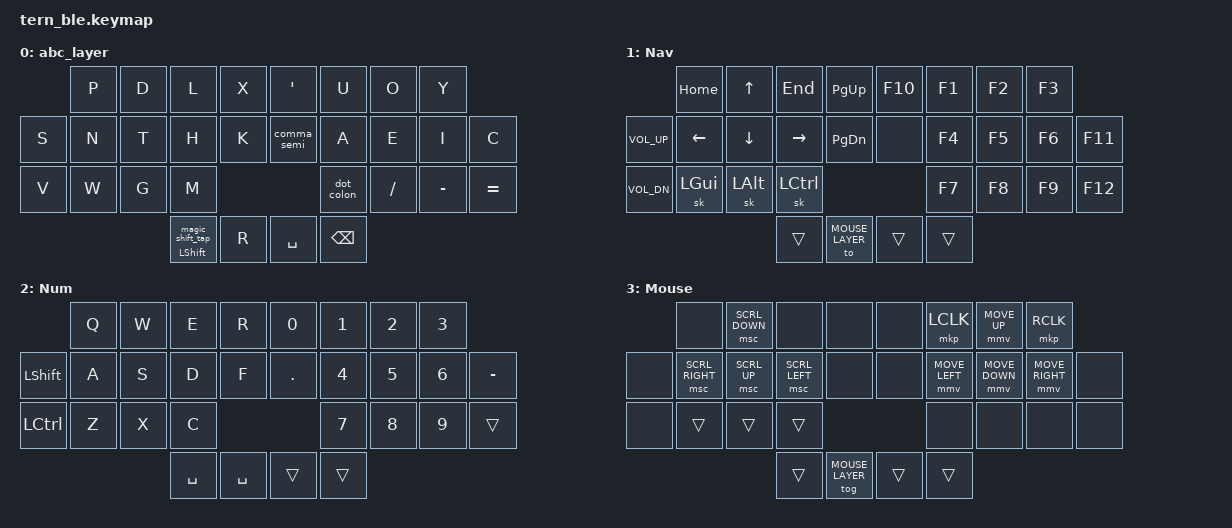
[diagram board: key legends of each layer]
/*
 * Copyright (c) 2022 The ZMK Contributors
 *
 * SPDX-License-Identifier: MIT
 */

#include <behaviors.dtsi>
#include <dt-bindings/zmk/keys.h>
#include <dt-bindings/zmk/bt.h>

#define ZMK_POINTING_DEFAULT_MOVE_VAL 1500  // default: 600
#define ZMK_POINTING_DEFAULT_SCRL_VAL 20    // default: 10

#include <dt-bindings/zmk/pointing.h>

#define ABC_LAYER 0
#define NAV_LAYER 1
#define NUM_LAYER 2
#define MOUSE_LAYER 3

/*       30 KEY MATRIX / LAYOUT MAPPING

      +----------------+----------------+
  +---+  0   1   2   3 |  4   5   6   7 +---+
  |  8   9  10  11  12 | 13  14  15  16  17 |
  | 18  19  20  21 ----+---- 22  23  24  25 |
  +-----------+ 26  27 | 28  29 +-----------+
              +--------+--------+             */

#define KEYS_L   0  1  2  3  8  9 10 11 12 18 19 20 21  // Left-hand keys.
#define KEYS_R   4  5  6  7 13 14 15 16 17 22 23 24 25  // Right-hand keys.
#define THUMBS  26 27 28 29                             // Thumb keys.
#define MAGIC_SHIFT &magic_shift LSHFT 0

// Continuation list for caps word
&caps_word { continue-list = <UNDERSCORE MINUS>; };

&sk {
    quick-release;
};

/ {
    behaviors {
        magic_shift: magic_shift {
            compatible = "zmk,behavior-hold-tap";
            #binding-cells = <2>;
            flavor = "balanced";
            tapping-term-ms = <200>;
            quick-tap-ms = <175>;
            bindings = <&kp>, <&magic_shift_tap>;
        };
        magic_shift_tap: magic_shift_tap {
            compatible = "zmk,behavior-mod-morph";
            #binding-cells = <0>;
            bindings = <&sk LSHFT>, <&caps_word>;
            mods = <(MOD_LSFT|MOD_RSFT)>;
        };
        dot_colon: dot_colon {
            compatible = "zmk,behavior-mod-morph";
            #binding-cells = <0>;
            bindings = <&kp DOT>, <&kp COLON>;
            mods = <(MOD_LSFT|MOD_RSFT)>;
        };
        comma_semi: comma_semi {
            compatible = "zmk,behavior-mod-morph";
            #binding-cells = <0>;
            bindings = <&kp COMMA>, <&kp SEMI>;
            mods = <(MOD_LSFT|MOD_RSFT)>;
        };
        lpar_lt: lpar_lt {
            compatible = "zmk,behavior-mod-morph";
            #binding-cells = <0>;
            bindings = <&kp LPAR>, <&kp LT>;
            mods = <(MOD_LSFT|MOD_RSFT)>;
        };
        rpar_gt: rpar_gt {
            compatible = "zmk,behavior-mod-morph";
            #binding-cells = <0>;
            bindings = <&kp RPAR>, <&kp GT>;
            mods = <(MOD_LSFT|MOD_RSFT)>;
        };
    };

    combos {
        compatible = "zmk,combos";

// -------------------------------------------------
//  ABC_LAYER + NAV_LAYER + NUM_LAYER + MOUSE_LAYER
// -------------------------------------------------

        combo_boot {                    //      +----------------+----------------+
            timeout-ms = <50>;          //  +---+  0   1   2   * |  *   5   6   7 +---+
            key-positions = <3 4>;      //  |  8   9  10  11  12 | 13  14  15  16  17 |
            bindings = <&bootloader>;   //  | 18  19  20  21 ----+---- 22  23  24  25 |
        };                              //  +-----------+ 26  27 | 28  29 +-----------+

        combo_reset {                   //      +----------------+----------------+
            timeout-ms = <50>;          //  +---+  0   1   2   3 |  4   5   6   7 +---+
            key-positions = <12 13>;    //  |  8   9  10  11   * |  *  14  15  16  17 |
            bindings = <&sys_reset>;    //  | 18  19  20  21 ----+---- 22  23  24  25 |
        };                              //  +-----------+ 26  27 | 28  29 +-----------+

        combo_del {                     //      +----------------+----------------+
            timeout-ms = <50>;          //  +---+  0   1   2   3 |  4   5   6   7 +---+
            key-positions = <27 28>;    //  |  8   9  10  11  12 | 13  14  15  16  17 |
            bindings = <&kp DEL>;       //  | 18  19  20  21 ----+---- 22  23  24  25 |
        };                              //  +-----------+ 26   * |  *  29 +-----------+

        combo_esc {                     //      +----------------+----------------+
            timeout-ms = <50>;          //  +---+  0   1   2   3 |  4   5   6   7 +---+
            key-positions = <26 27>;    //  |  8   9  10  11  12 | 13  14  15  16  17 |
            bindings = <&kp ESC>;       //  | 18  19  20  21 ----+---- 22  23  24  25 |
        };                              //  +-----------+  *   * | 28  29 +-----------+

        combo_return {                  //      +----------------+----------------+
            timeout-ms = <50>;          //  +---+  0   1   2   3 |  4   5   6   7 +---+
            key-positions = <28 29>;    //  |  8   9  10  11  12 | 13  14  15  16  17 |
            bindings = <&kp RET>;       //  | 18  19  20  21 ----+---- 22  23  24  25 |
        };                              //  +-----------+ 26  27 |  *   * +-----------+

        combo_tab {                     //      +----------------+----------------+
            timeout-ms = <50>;          //  +---+  0   1   2   3 |  4   5   6   7 +---+
            key-positions = <8 9>;      //  |  *   *  10  11  12 | 13  14  15  16  17 |
            bindings = <&kp TAB>;       //  | 18  19  20  21 ----+---- 22  23  24  25 |
        };                              //  +-----------+ 26  27 | 28  29 +-----------+

        combo_copy {                    //      +----------------+----------------+
            timeout-ms = <50>;          //  +---+  0   1   2   3 |  4   5   6   7 +---+
            key-positions = <19 20>;    //  |  8   9  10  11  12 | 13  14  15  16  17 |
            bindings = <&kp LC(C)>;     //  | 18   *   *  21 ----+---- 22  23  24  25 |
        };                              //  +-----------+ 26  27 | 28  29 +-----------+

        combo_cut {                     //      +----------------+----------------+
            timeout-ms = <50>;          //  +---+  0   1   2   3 |  4   5   6   7 +---+
            key-positions = <19 21>;    //  |  8   9  10  11  12 | 13  14  15  16  17 |
            bindings = <&kp LC(X)>;     //  | 18   *  20   * ----+---- 22  23  24  25 |
        };                              //  +-----------+ 26  27 | 28  29 +-----------+

        combo_paste {                   //      +----------------+----------------+
            timeout-ms = <50>;          //  +---+  0   1   2   3 |  4   5   6   7 +---+
            key-positions = <20 21>;    //  |  8   9  10  11  12 | 13  14  15  16  17 |
            bindings = <&kp LC(V)>;     //  | 18  19   *   * ----+---- 22  23  24  25 |
        };                              //  +-----------+ 26  27 | 28  29 +-----------+

// -------------------------------------------------
//                    BLUETOOTH
// -------------------------------------------------

        combo_bt_sel0 {                 //      +----------------+----------------+
            timeout-ms = <50>;          //  +---+  0   1   *   3 |  4   *   6   7 +---+
            key-positions = <2 5>;      //  |  8   9  10  11  12 | 13  14  15  16  17 |
            bindings = <&bt BT_SEL 0>;  //  | 18  19  20  21 ----+---- 22  23  24  25 |
        };                              //  +-----------+ 26  27 | 28  29 +-----------+

        combo_bt_sel1 {                 //      +----------------+----------------+
            timeout-ms = <50>;          //  +---+  0   *   2   3 |  4   5   *   7 +---+
            key-positions = <1 6>;      //  |  8   9  10  11  12 | 13  14  15  16  17 |
            bindings = <&bt BT_SEL 1>;  //  | 18  19  20  21 ----+---- 22  23  24  25 |
        };                              //  +-----------+ 26  27 | 28  29 +-----------+

        combo_bt_sel2 {                 //      +----------------+----------------+
            timeout-ms = <50>;          //  +---+  *   1   2   3 |  4   5   6   * +---+
            key-positions = <0 7>;      //  |  8   9  10  11  12 | 13  14  15  16  17 |
            bindings = <&bt BT_SEL 2>;  //  | 18  19  20  21 ----+---- 22  23  24  25 |
        };                              //  +-----------+ 26  27 | 28  29 +-----------+

        combo_bt_clr {                  //      +----------------+----------------+
            timeout-ms = <50>;          //  +---+  0   1   2   * |  *   5   6   7 +---+
            key-positions = <3 4 12 13>;//  |  8   9  10  11   * |  *  14  15  16  17 |
            bindings = <&bt BT_CLR>;    //  | 18  19  20  21 ----+---- 22  23  24  25 |
        };                              //  +-----------+ 26  27 | 28  29 +-----------+

// -------------------------------------------------
//                    ABC_LAYER
// -------------------------------------------------

        combo_f {                       //      +----------------+----------------+
            timeout-ms = <50>;          //  +---+  *   *   2   3 |  4   5   6   7 +---+
            key-positions = <0 1>;      //  |  8   9  10  11  12 | 13  14  15  16  17 |
            bindings = <&kp F>;         //  | 18  19  20  21 ----+---- 22  23  24  25 |
            layers = <0>;               //  +-----------+ 26  27 | 28  29 +-----------+
        };                              //              +--------+--------+

        combo_j {                       //      +----------------+----------------+
            timeout-ms = <50>;          //  +---+  0   1   2   * |  4   5   6   7 +---+
            key-positions = <3 12>;     //  |  8   9  10  11   * | 13  14  15  16  17 |
            bindings = <&kp J>;         //  | 18  19  20  21 ----+---- 22  23  24  25 |
            layers = <0>;               //  +-----------+ 26  27 | 28  29 +-----------+
        };                              //              +--------+--------+

        combo_b {                       //      +----------------+----------------+
            timeout-ms = <50>;          //  +---+  0   1   2   3 |  4   5   *   * +---+
            key-positions = <6 7>;      //  |  8   9  10  11  12 | 13  14  15  16  17 |
            bindings = <&kp B>;         //  | 18  19  20  21 ----+---- 22  23  24  25 |
            layers = <0>;               //  +-----------+ 26  27 | 28  29 +-----------+
        };                              //              +--------+--------+

        combo_z {                       //      +----------------+----------------+
            timeout-ms = <50>;          //  +---+  0   1   2   3 |  4   5   6   7 +---+
            key-positions = <16 17>;    //  |  8   9  10  11  12 | 13  14  15   *   * |
            bindings = <&kp Z>;         //  | 18  19  20  21 ----+---- 22  23  24  25 |
            layers = <0>;               //  +-----------+ 26  27 | 28  29 +-----------+
        };                              //              +--------+--------+

        combo_q {                       //      +----------------+----------------+
            timeout-ms = <50>;          //  +---+  0   1   2   3 |  4   5   6   7 +---+
            key-positions = <24 25>;    //  |  8   9  10  11  12 | 13  14  15  16  17 |
            bindings = <&kp Q>;         //  | 18  19  20  21 ----+---- 22  23   *   * |
            layers = <0>;               //  +-----------+ 26  27 | 28  29 +-----------+
        };                              //              +--------+--------+

        combo_shorti {                  //      +----------------+----------------+
            timeout-ms = <50>;          //  +---+  0   1   *   3 |  4   5   6   7 +---+
            key-positions = <2 11>;     //  |  8   9  10   *  12 | 13  14  15  16  17 |
            bindings = <&kp F13>;       //  | 18  19  20  21 ----+---- 22  23  24  25 |
            layers = <0>;               //  +-----------+ 26  27 | 28  29 +-----------+
        };                              //              +--------+--------+

        combo_io {                      //      +----------------+----------------+
            timeout-ms = <50>;          //  +---+  0   1   2   3 |  4   *   6   7 +---+
            key-positions = <5 14>;     //  |  8   9  10  11  12 | 13   *  15  16  17 |
            bindings = <&kp F14>;       //  | 18  19  20  21 ----+---- 22  23  24  25 |
            layers = <0>;               //  +-----------+ 26  27 | 28  29 +-----------+
        };                              //              +--------+--------+

        combo_yu {                      //      +----------------+----------------+
            timeout-ms = <50>;          //  +---+  0   1   2   3 |  4   5   *   7 +---+
            key-positions = <6 15>;     //  |  8   9  10  11  12 | 13  14   *  16  17 |
            bindings = <&kp F15>;       //  | 18  19  20  21 ----+---- 22  23  24  25 |
            layers = <0>;               //  +-----------+ 26  27 | 28  29 +-----------+
        };                              //              +--------+--------+

        combo_tse {                     //      +----------------+----------------+
            timeout-ms = <50>;          //  +---+  0   *   2   3 |  4   5   6   7 +---+
            key-positions = <1 10>;     //  |  8   9   *  11  12 | 13  14  15  16  17 |
            bindings = <&kp F16>;       //  | 18  19  20  21 ----+---- 22  23  24  25 |
            layers = <0>;               //  +-----------+ 26  27 | 28  29 +-----------+
        };                              //              +--------+--------+

        combo_e {                       //      +----------------+----------------+
            timeout-ms = <50>;          //  +---+  0   1   2   3 |  4   5   6   * +---+
            key-positions = <7 16>;     //  |  8   9  10  11  12 | 13  14  15   *  17 |
            bindings = <&kp F17>;       //  | 18  19  20  21 ----+---- 22  23  24  25 |
            layers = <0>;               //  +-----------+ 26  27 | 28  29 +-----------+
        };                              //              +--------+--------+

        combo_shcha {                   //      +----------------+----------------+
            timeout-ms = <50>;          //  +---+  *   1   2   3 |  4   5   6   7 +---+
            key-positions = <0 9>;      //  |  8   *  10  11  12 | 13  14  15  16  17 |
            bindings = <&kp F18>;       //  | 18  19  20  21 ----+---- 22  23  24  25 |
            layers = <0>;               //  +-----------+ 26  27 | 28  29 +-----------+
        };                              //              +--------+--------+

        combo_hardsign {                //      +----------------+----------------+
            timeout-ms = <50>;          //  +---+  0   1   2   3 |  4   5   6   7 +---+
            key-positions = <18 19>;    //  |  8   9  10  11  12 | 13  14  15  16  17 |
            bindings = <&kp F19>;       //  |  *   *  20  21 ----+---- 22  23  24  25 |
            layers = <0>;               //  +-----------+ 26  27 | 28  29 +-----------+
        };                              //              +--------+--------+

        combo_grave {                   //      +----------------+----------------+
            timeout-ms = <50>;          //  +---+  0   1   2   3 |  4   5   6   7 +---+
            key-positions = <20 26>;    //  |  8   9  10  11  12 | 13  14  15  16  17 |
            bindings = <&kp GRAVE>;     //  | 18  19   *  21 ----+---- 22  23  24  25 |
            layers = <0>;               //  +-----------+  *  27 | 28  29 +-----------+
        };                              //              +--------+--------+

        combo_tilde {                   //      +----------------+----------------+
            timeout-ms = <50>;          //  +---+  0   1   2   3 |  4   5   6   7 +---+
            key-positions = <10 16>;    //  |  8   9   *  11  12 | 13  14  15   *  17 |
            bindings = <&kp TILDE>;     //  | 18  19  20  21 ----+---- 22  23  24  25 |
            layers = <0>;               //  +-----------+ 26  27 | 28  29 +-----------+
        };                              //              +--------+--------+

        combo_excl {                    //      +----------------+----------------+
            timeout-ms = <50>;          //  +---+  0   1   2   3 |  *   5   6   7 +---+
            key-positions = <4 13>;     //  |  8   9  10  11  12 |  *  14  15  16  17 |
            bindings = <&kp EXCL>;      //  | 18  19  20  21 ----+---- 22  23  24  25 |
            layers = <0>;               //  +-----------+ 26  27 | 28  29 +-----------+
        };                              //              +--------+--------+

        combo_arroba {                  //      +----------------+----------------+
            timeout-ms = <50>;          //  +---+  0   1   2   3 |  4   5   6   7 +---+
            key-positions = <10 14>;    //  |  8   9   *  11  12 | 13   *  15  16  17 |
            bindings = <&kp AT>;        //  | 18  19  20  21 ----+---- 22  23  24  25 |
            layers = <0>;               //  +-----------+ 26  27 | 28  29 +-----------+
        };                              //              +--------+--------+

        combo_hash {                    //      +----------------+----------------+
            timeout-ms = <50>;          //  +---+  0   1   2   3 |  4   5   6   7 +---+
            key-positions = <11 14>;    //  |  8   9  10   *  12 | 13   *  15  16  17 |
            bindings = <&kp HASH>;      //  | 18  19  20  21 ----+---- 22  23  24  25 |
            layers = <0>;               //  +-----------+ 26  27 | 28  29 +-----------+
        };                              //              +--------+--------+

        combo_dollar {                  //      +----------------+----------------+
            timeout-ms = <50>;          //  +---+  0   1   2   3 |  4   5   6   7 +---+
            key-positions = <8 16>;     //  |  *   9  10  11  12 | 13  14  15   *  17 |
            bindings = <&kp DLLR>;      //  | 18  19  20  21 ----+---- 22  23  24  25 |
            layers = <0>;               //  +-----------+ 26  27 | 28  29 +-----------+
        };                              //              +--------+--------+

        combo_procent {                 //      +----------------+----------------+
            timeout-ms = <50>;          //  +---+  *   1   2   3 |  4   5   6   7 +---+
            key-positions = <0 26>;     //  |  8   9  10  11  12 | 13  14  15  16  17 |
            bindings = <&kp PRCNT>;     //  | 18  19  20  21 ----+---- 22  23  24  25 |
            layers = <0>;               //  +-----------+  *  27 | 28  29 +-----------+
        };                              //              +--------+--------+

        combo_carret {                  //      +----------------+----------------+
            timeout-ms = <50>;          //  +---+  0   1   2   3 |  4   5   6   7 +---+
            key-positions = <14 17>;    //  |  8   9  10  11  12 | 13   *  15  16   * |
            bindings = <&kp CARET>;     //  | 18  19  20  21 ----+---- 22  23  24  25 |
            layers = <0>;               //  +-----------+ 26  27 | 28  29 +-----------+
        };                              //              +--------+--------+

        combo_amps {                    //      +----------------+----------------+
            timeout-ms = <50>;          //  +---+  0   1   2   3 |  4   5   6   7 +---+
            key-positions = <14 21>;    //  |  8   9  10  11  12 | 13   *  15  16  17 |
            bindings = <&kp AMPS>;      //  | 18  19  20   * ----+---- 22  23  24  25 |
            layers = <0>;               //  +-----------+ 26  27 | 28  29 +-----------+
        };                              //              +--------+--------+

        combo_asterisk {                //      +----------------+----------------+
            timeout-ms = <50>;          //  +---+  0   1   2   3 |  4   5   6   7 +---+
            key-positions = <8 10>;     //  |  *   9   *  11  12 | 13  14  15  16  17 |
            bindings = <&kp ASTERISK>;  //  | 18  19  20  21 ----+---- 22  23  24  25 |
            layers = <0>;               //  +-----------+ 26  27 | 28  29 +-----------+
        };                              //              +--------+--------+

        combo_bslh {                    //      +----------------+----------------+
            timeout-ms = <50>;          //  +---+  0   1   2   3 |  4   5   *   * +---+
            key-positions = <6 7 8>;    //  |  *   9  10  11  12 | 13  14  15  16  17 |
            bindings = <&kp BSLH>;      //  | 18  19  20  21 ----+---- 22  23  24  25 |
            layers = <0>;               //  +-----------+ 26  27 | 28  29 +-----------+
        };                              //              +--------+--------+

        combo_pipe {                    //      +----------------+----------------+
            timeout-ms = <50>;          //  +---+  *   1   2   3 |  4   5   6   7 +---+
            key-positions = <0 16>;     //  |  8   9  10  11  12 | 13  14  15   *  17 |
            bindings = <&kp PIPE>;      //  | 18  19  20  21 ----+---- 22  23  24  25 |
            layers = <0>;               //  +-----------+ 26  27 | 28  29 +-----------+
        };                              //              +--------+--------+

        combo_lpl {                     //      +----------------+----------------+
            timeout-ms = <50>;          //  +---+  0   1   2   3 |  4   5   6   7 +---+
            key-positions = <14 15>;    //  |  8   9  10  11  12 | 13   *   *  16  17 |
            bindings = <&lpar_lt>;      //  | 18  19  20  21 ----+---- 22  23  24  25 |
            layers = <0>;               //  +-----------+ 26  27 | 28  29 +-----------+
        };                              //              +--------+--------+

        combo_rpg {                     //      +----------------+----------------+
            timeout-ms = <50>;          //  +---+  0   1   2   3 |  4   5   6   7 +---+
            key-positions = <15 16>;    //  |  8   9  10  11  12 | 13  14   *   *  17 |
            bindings = <&rpar_gt>;      //  | 18  19  20  21 ----+---- 22  23  24  25 |
            layers = <0>;               //  +-----------+ 26  27 | 28  29 +-----------+
        };                              //              +--------+--------+

        combo_lbkt {                    //      +----------------+----------------+
            timeout-ms = <50>;          //  +---+  0   1   2   3 |  4   5   6   7 +---+
            key-positions = <22 23>;    //  |  8   9  10  11  12 | 13  14  15  16  17 |
            bindings = <&kp LBKT>;      //  | 18  19  20  21 ----+----  *   *  24  25 |
            layers = <0>;               //  +-----------+ 26  27 | 28  29 +-----------+
        };                              //              +--------+--------+

        combo_rbkt {                    //      +----------------+----------------+
            timeout-ms = <50>;          //  +---+  0   1   2   3 |  4   5   6   7 +---+
            key-positions = <23 24>;    //  |  8   9  10  11  12 | 13  14  15  16  17 |
            bindings = <&kp RBKT>;      //  | 18  19  20  21 ----+---- 22   *   *  25 |
            layers = <0>;               //  +-----------+ 26  27 | 28  29 +-----------+
        };                              //              +--------+--------+

        combo_l_gui {                   //      +----------------+----------------+
            timeout-ms = <50>;          //  +---+  0   1   2   3 |  4   5   6   7 +---+
            key-positions = <9 27>;     //  |  8   *  10  11  12 | 13  14  15  16  17 |
            bindings = <&sk LGUI>;      //  | 18  19  20  21 ----+---- 22  23  24  25 |
            layers = <0>;               //  +-----------+ 26   * | 28  29 +-----------+
            slow-release;               //              +--------+--------+
        };

        combo_l_alt {                   //      +----------------+----------------+
            timeout-ms = <50>;          //  +---+  0   1   2   3 |  4   5   6   7 +---+
            key-positions = <10 27>;    //  |  8   9   *  11  12 | 13  14  15  16  17 |
            bindings = <&sk LALT>;      //  | 18  19  20  21 ----+---- 22  23  24  25 |
            layers = <0 1>;             //  +-----------+ 26   * | 28  29 +-----------+
            slow-release;               //              +--------+--------+
        };

        combo_l_ctrl {                  //      +----------------+----------------+
            timeout-ms = <50>;          //  +---+  0   1   2   3 |  4   5   6   7 +---+
            key-positions = <11 27>;    //  |  8   9  10   *  12 | 13  14  15  16  17 |
            bindings = <&sk LCTRL>;     //  | 18  19  20  21 ----+---- 22  23  24  25 |
            layers = <0>;               //  +-----------+  26  * | 28  29 +-----------+
            slow-release;               //              +--------+--------+
        };

        combo_r_ctrl {                  //      +----------------+----------------+
            timeout-ms = <50>;          //  +---+  0   1   2   3 |  4   5   6   7 +---+
            key-positions = <14 28>;    //  |  8   9  10  11  12 | 13   *  15  16  17 |
            bindings = <&sk RCTRL>;     //  | 18  19  20  21 ----+---- 22  23  24  25 |
            layers = <0>;               //  +-----------+ 26  27 |  *  29 +-----------+
            slow-release;               //              +--------+--------+
        };

        combo_r_alt {                   //      +----------------+----------------+
            timeout-ms = <50>;          //  +---+  0   1   2   3 |  4   5   6   7 +---+
            key-positions = <15 28>;    //  |  8   9  10  11  12 | 13  14   *  16  17 |
            bindings = <&sk RALT>;      //  | 18  19  20  21 ----+---- 22  23  24  25 |
            layers = <0>;               //  +-----------+ 26  27 |  *  29 +-----------+
            slow-release;               //              +--------+--------+
        };

        combo_r_gui {                   //      +----------------+----------------+
            timeout-ms = <50>;          //  +---+  0   1   2   3 |  4   5   6   7 +---+
            key-positions = <16 28>;    //  |  8   9  10  11  12 | 13  14  15   *  17 |
            bindings = <&sk RGUI>;      //  | 18  19  20  21 ----+---- 22  23  24  25 |
            layers = <0>;               //  +-----------+ 26  27 |  *  29 +-----------+
            slow-release;               //              +--------+--------+
        };

        combo_sleep {                   //      +----------------+----------------+
            timeout-ms = <50>;          //  +---+  0   1   *   3 |  4   5   6   7 +---+
            key-positions = <2 8 15>;   //  |  *   9  10  11  12 | 13  14   *  16  17 |
            bindings = <&kp K_SLEEP>;   //  | 18  19  20  21 ----+---- 22  23  24  25 |
            layers = <0>;               //  +-----------+ 26  27 | 28  29 +-----------+
        };                              //              +--------+--------+

        combo_screenshot {              //      +----------------+----------------+
            timeout-ms = <50>;          //  +---+  *   1   2   3 |  4   5   6   7 +---+
            key-positions = <0 8>;      //  |  *   9  10  11  12 | 13  14  15  16  17 |
            bindings = <&kp LS(LG(PSCRN))>;
                                        //  | 18  19  20  21 ----+---- 22  23  24  25 |
            layers = <0>;               //  +-----------+ 26  27 | 28  29 +-----------+
        };                              //              +--------+--------+

        combo_screen_record {           //      +----------------+----------------+
            timeout-ms = <50>;          //  +---+  0   1   2   3 |  4   5   6   7 +---+
            key-positions = <8 26>;     //  |  *   9  10  11  12 | 13  14  15  16  17 |
            bindings = <&kp LS(LG(R))>; //  | 18  19  20  21 ----+---- 22  23  24  25 |
            layers = <0>;               //  +-----------+  *  27 | 28  29 +-----------+
        };                              //              +--------+--------+

// -------------------------------------------------
//       ABC_LAYER + NAV_LAYER + MOUSE_LAYER
// -------------------------------------------------

        combo_to_num {                  //      +----------------+----------------+
            timeout-ms = <50>;          //  +---+  0   *   *   3 |  4   5   6   7 +---+
            key-positions = <1 2>;      //  |  8   9  10  11  12 | 13  14  15  16  17 |
            bindings = <&to NUM_LAYER>; //  | 18  19  20  21 ----+---- 22  23  24  25 |
            layers = <0 1 3>;           //  +-----------+ 26  27 | 28  29 +-----------+
        };                              //              +--------+--------+

// -------------------------------------------------
//                     NAV_LAYER
// -------------------------------------------------

        combo_tog_nav {                 //      +----------------+----------------+
            timeout-ms = <50>;          //  +---+  0   1   2   3 |  4   *   *   7 +---+
            key-positions = <5 6>;      //  |  8   9  10  11  12 | 13  14  15  16  17 |
            bindings = <&tog NAV_LAYER>;//  | 18  19  20  21 ----+---- 22  23  24  25 |
            layers = <1>;               //  +-----------+ 26  27 | 28  29 +-----------+
        };                              //              +--------+--------+

        combo_mute {                    //      +----------------+----------------+
            timeout-ms = <50>;          //  +---+  0   1   2   3 |  4   5   6   7 +---+
            key-positions = <8 18>;     //  |  *   9  10  11  12 | 13  14  15  16  17 |
            bindings = <&kp C_PP>;      //  |  *  19  20  21 ----+---- 22  23  24  25 |
            layers = <1>;               //  +-----------+ 26  27 | 28  29 +-----------+
        };                              //              +--------+--------+

// -------------------------------------------------
//        ABC_LAYER + NUM_LAYER + MOUSE_LAYER
// -------------------------------------------------

        combo_to_nav {                  //      +----------------+----------------+
            timeout-ms = <50>;          //  +---+  0   1   2   3 |  4   *   *   7 +---+
            key-positions = <5 6>;      //  |  8   9  10  11  12 | 13  14  15  16  17 |
            bindings = <&to NAV_LAYER>; //  | 18  19  20  21 ----+---- 22  23  24  25 |
            layers = <0 2 3>;           //  +-----------+ 26  27 | 28  29 +-----------+
        };                              //              +--------+--------+

// -------------------------------------------------
//                     NUM_LAYER
// -------------------------------------------------

        combo_tog_num {                 //      +----------------+----------------+
            timeout-ms = <50>;          //  +---+  0   *   *   3 |  4   5   6   7 +---+
            key-positions = <1 2>;      //  |  8   9  10  11  12 | 13  14  15  16  17 |
            bindings = <&tog NUM_LAYER>;//  | 18  19  20  21 ----+---- 22  23  24  25 |
            layers = <2>;               //  +-----------+ 26  27 | 28  29 +-----------+
        };                              //              +--------+--------+

        combo_g {                       //      +----------------+----------------+
            timeout-ms = <50>;          //  +---+  0   1   2   * |  4   5   6   7 +---+
            key-positions = <3 12>;     //  |  8   9  10  11   * | 13  14  15  16  17 |
            bindings = <&kp G>;         //  | 18  19  20  21 ----+---- 22  23  24  25 |
            layers = <2>;               //  +-----------+ 26  27 | 28  29 +-----------+
        };                              //              +--------+--------+
   };

    keymap {
        compatible = "zmk,keymap";

        abc_layer {
            bindings = <
            //              +-------------+-------------+-------------+-------------+ +-------------+-------------+-------------+-------------+
                              &kp P         &kp D         &kp L         &kp X           &kp SQT       &kp U         &kp O         &kp Y
            //+-------------+-------------+-------------+-------------+-------------| |-------------+-------------+-------------+-------------+-------------+
                &kp S         &kp N         &kp T         &kp H         &kp K           &comma_semi   &kp A         &kp E         &kp I         &kp C
            //|-------------+-------------+-------------+-------------+-------------+ +-------------+-------------+-------------+-------------+-------------|
                &kp V         &kp W         &kp G         &kp M                                       &dot_colon    &kp SLASH     &kp MINUS     &kp EQUAL
            //+-------------+-------------+-------------+-------------+-------------+ +-------------+-------------+-------------+-------------+-------------+
                                                          MAGIC_SHIFT   &kp R           &kp SPACE     &kp BKSP
            //                                          +-------------+-------------+ +-------------+-------------+
            >;
        };

        nav_layer {
            display-name = "Nav";
            bindings = <
            //              +-------------+-------------+-------------+-------------+ +-------------+-------------+-------------+-------------+
                              &kp HOME      &kp UP        &kp END       &kp PG_UP       &kp F10       &kp F1       &kp F2         &kp F3
            //+-------------+-------------+-------------+-------------+-------------| |-------------+-------------+-------------+-------------+-------------+
                &kp C_VOL_UP  &kp LEFT      &kp DOWN      &kp RIGHT     &kp PG_DN       &none         &kp F4       &kp F5         &kp F6        &kp F11
            //|-------------+-------------+-------------+-------------+-------------+ +-------------+-------------+-------------+-------------+-------------|
                &kp C_VOL_DN  &sk LGUI      &sk LALT      &sk LCTRL                                   &kp F7       &kp F8         &kp F9        &kp F12
            //+-------------+-------------+-------------+-------------+-------------+ +-------------+-------------+-------------+-------------+-------------+
                                                          &trans        &to MOUSE_LAYER &trans        &trans
            //                                          +-------------+-------------+ +-------------+-------------+
            >;
        };

        num_layer {
            display-name = "Num";
            bindings = <
            //              +-------------+-------------+-------------+-------------+ +-------------+-------------+-------------+-------------+
                              &kp Q         &kp W         &kp E         &kp R           &kp N0        &kp N1        &kp N2        &kp N3
            //+-------------+-------------+-------------+-------------+-------------| |-------------+-------------+-------------+-------------+-------------+
                &kp LSHFT     &kp A         &kp S         &kp D         &kp F           &kp DOT       &kp N4        &kp N5        &kp N6        &kp MINUS
            //|-------------+-------------+-------------+-------------+-------------+ +-------------+-------------+-------------+-------------+-------------|
                &kp LCTRL     &kp Z         &kp X         &kp C                                       &kp N7        &kp N8        &kp N9        &trans
            //+-------------+-------------+-------------+-------------+-------------+ +-------------+-------------+-------------+-------------+-------------+
                                                          &kp SPACE     &kp SPACE       &trans        &trans
            //                                          +-------------+-------------+ +-------------+-------------+
            >;
        };

        mouse_layer {
            display-name = "Mouse";
            bindings = <
            //              +-------------+-------------+-------------+-------------+ +-------------+-------------+-------------+-------------+
                              &none        &msc SCRL_DOWN &none         &none           &none        &mkp LCLK     &mmv MOVE_UP  &mkp RCLK
            //+-------------+-------------+-------------+-------------+-------------| |-------------+-------------+-------------+-------------+-------------+
                &none         &msc SCRL_RIGHT &msc SCRL_UP &msc SCRL_LEFT &none         &none        &mmv MOVE_LEFT &mmv MOVE_DOWN &mmv MOVE_RIGHT &none
            //|-------------+-------------+-------------+-------------+-------------+ +-------------+-------------+-------------+-------------+-------------|
                &none         &trans        &trans         &trans                                       &none         &none         &none         &none
            //+-------------+-------------+-------------+-------------+-------------+ +-------------+-------------+-------------+-------------+-------------+
                                                          &trans        &tog MOUSE_LAYER &trans        &trans
            //                                          +-------------+-------------+ +-------------+-------------+
            >;
        };
    };
};
